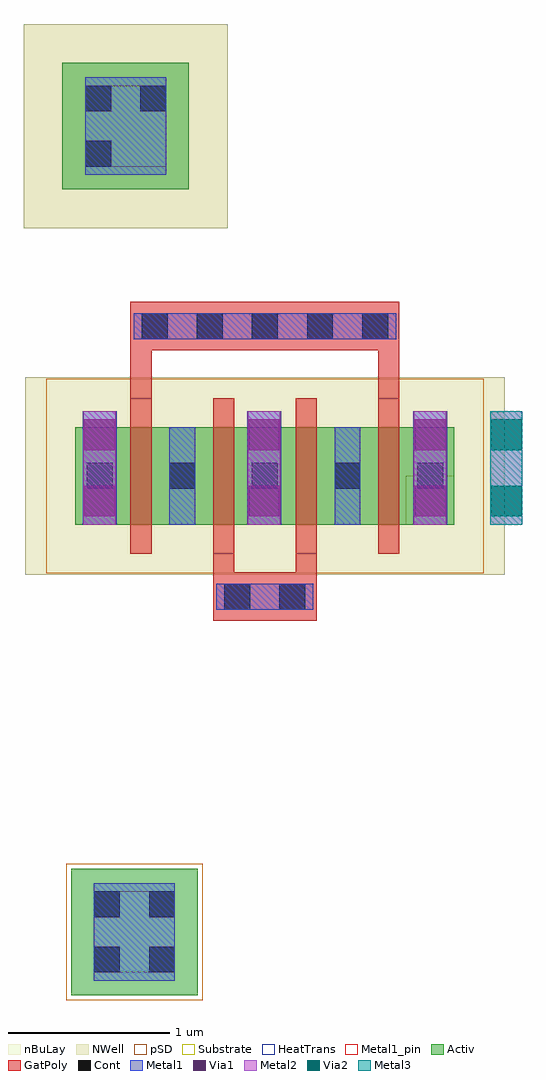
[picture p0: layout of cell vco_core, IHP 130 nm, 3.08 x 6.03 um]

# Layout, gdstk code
from math import pi, radians
import gdstk
lib = gdstk.Library(unit=1e-6, precision=1e-09)
def R(c, l, rs):  # rectangles x0, y0, x1, y1
    for r in rs: c.add(gdstk.rectangle(r[:2], r[2:], *l))
def A(c, l, x, y, w, h, nx, ny, dx, dy):  # array of equal rectangles
    R(c, l, [(x+i*dx, y+j*dy, x+i*dx+w, y+j*dy+h) for i in range(nx) for j in range(ny)])
Activ = (1, 0)
GatPoly = (5, 0)
Cont = (6, 0)
Metal1 = (8, 0)
Metal1_pin = (8, 2)
Metal2 = (10, 0)
pSD = (14, 0)
Via1 = (19, 0)
Via2 = (29, 0)
Metal3 = (30, 0)
NWell = (31, 0)
nBuLay = (32, 0)
Substrate = (40, 0)
HeatTrans = (51, 0)

ptap = lib.new_cell('ptap')
R(ptap, Activ, [(-0.425,-1.215,0.355,-0.435)])
R(ptap, Cont, [(-0.285,-1.075,-0.125,-0.915), (0.055,-1.075,0.215,-0.915), (-0.285,-0.735,-0.125,-0.575), (0.055,-0.735,0.215,-0.575)])
R(ptap, Metal1, [(-0.285,-1.125,0.215,-0.525)])
R(ptap, Metal1_pin, [(-0.285,-1.075,0.215,-0.575)])
R(ptap, pSD, [(-0.455,-1.245,0.385,-0.405)])

ntap = lib.new_cell('ntap')
R(ntap, Activ, [(-0.665,-0.22,0.115,0.56)])
R(ntap, Cont, [(-0.525,-0.08,-0.365,0.08), (-0.525,0.26,-0.365,0.42), (-0.185,0.26,-0.025,0.42)])
R(ntap, Metal1, [(-0.525,-0.13,-0.025,0.47)])
R(ntap, Metal1_pin, [(-0.525,-0.08,-0.025,0.42)])
R(ntap, NWell, [(-0.905,-0.46,0.355,0.8)])
R(ntap, nBuLay, [(-0.905,-0.46,0.355,0.8)])

pmos = lib.new_cell('pmos')
A(pmos, Activ, 0, 0, 0.3, 0.3, 5, 1, 0.51, 0)
R(pmos, Activ, [(0,0,2.34,0.6)])
A(pmos, GatPoly, 0.34, -0.18, 0.13, 0.96, 4, 1, 0.51, 0)
R(pmos, GatPoly, [(0.34,-0.18,0.47,0.78)])
A(pmos, Cont, 0.07, 0.22, 0.16, 0.16, 5, 1, 0.51, 0)
A(pmos, Metal1, 0.58, 0, 0.16, 0.6, 4, 1, 0.51, 0)
R(pmos, Metal1, [(0.07,0,0.23,0.6), (0.07,0,0.23,0.6), (0.58,0,0.74,0.6)])
R(pmos, pSD, [(-0.18,-0.3,2.52,0.9)])
R(pmos, NWell, [(-0.31,-0.31,2.65,0.91)])
R(pmos, Substrate, [(2.04,0,2.34,0.3)])
A(pmos, HeatTrans, 0.34, -0.18, 0.13, 0.96, 4, 1, 0.51, 0)
pmos.add(gdstk.Label('pmos', (0.405,0.3), layer=63, texttype=0))
pmos.add(gdstk.Label('pmos', (0.405,0.3), layer=51, texttype=0))
pmos.add(gdstk.Label('pmos', (0.915,0.3), layer=51, texttype=0))
pmos.add(gdstk.Label('pmos', (1.425,0.3), layer=51, texttype=0))
pmos.add(gdstk.Label('pmos', (1.935,0.3), layer=51, texttype=0))

via = lib.new_cell('Via')
R(via, GatPoly, [(-0.32,-0.15,0.32,0.15)])
R(via, Cont, [(-0.25,-0.08,-0.09,0.08), (0.09,-0.08,0.25,0.08)])
R(via, Metal1, [(-0.3,-0.08,0.3,0.08)])

via_3 = lib.new_cell('Via$3')
R(via_3, GatPoly, [(-0.15,-0.83,0.15,0.83)])
A(via_3, Cont, -0.08, -0.76, 0.16, 0.16, 1, 5, 0, 0.34)
R(via_3, Metal1, [(-0.08,-0.81,0.08,0.81)])

via_2 = lib.new_cell('Via$2')
R(via_2, Metal1, [(-0.105,-0.35,0.105,0.35)])
R(via_2, Metal2, [(-0.1,-0.35,0.1,0.35)])
R(via_2, Via1, [(-0.095,-0.3,0.095,-0.11), (-0.095,0.11,0.095,0.3)])

via_4 = lib.new_cell('Via$4')
R(via_4, Metal2, [(-0.35,-0.1,0.35,0.1)])
R(via_4, Via2, [(-0.3,-0.095,-0.11,0.095), (0.11,-0.095,0.3,0.095)])
R(via_4, Metal3, [(-0.35,-0.1,0.35,0.1)])

vco_core = lib.new_cell('vco_core')
R(vco_core, GatPoly, [(1.16,3.295,1.29,3.71), (1.67,3.31,1.8,3.71), (0.65,4.67,0.78,5.14), (2.18,4.67,2.31,5.12)])
vco_core.add(gdstk.Reference(ptap, (0.71,2.2)))
vco_core.add(gdstk.Reference(ntap, (0.895,6.18)))
vco_core.add(gdstk.Reference(pmos, (0.31,3.89)))
vco_core.add(gdstk.Reference(via, (1.48,3.445)))
vco_core.add(gdstk.Reference(via_3, (1.48,5.115), rotation=pi/2))
vco_core.add(gdstk.Reference(via_2, (0.46,4.24)))
vco_core.add(gdstk.Reference(via_2, (2.5,4.24)))
vco_core.add(gdstk.Reference(via_4, (2.97,4.24), rotation=pi/2))
vco_core.add(gdstk.Reference(via_2, (1.475,4.24)))

lib.write_gds('vco_core.gds')
